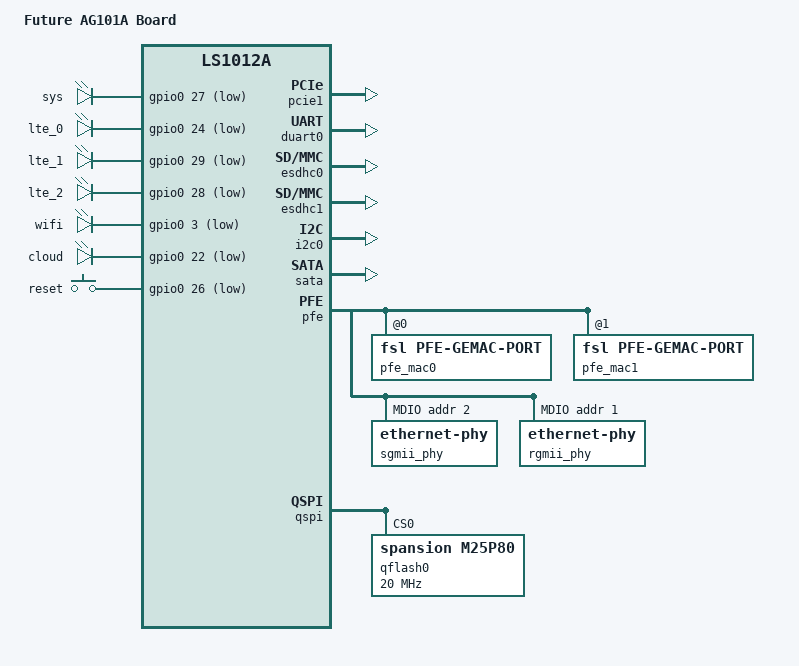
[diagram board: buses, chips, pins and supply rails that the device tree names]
// SPDX-License-Identifier: (GPL-2.0+ OR MIT)
/*
 * Device Tree file for Freescale LS1012A RDB Board.
 *
 * Copyright 2016 Freescale Semiconductor, Inc.
 *
 */
/dts-v1/;

#include <dt-bindings/interrupt-controller/irq.h>
#include "fsl-ls1012a.dtsi"

/ {
	model = "Future AG101A Board";
	compatible = "fsl,ls1012a-ag101a", "fsl,ls1012a";

	aliases {
		ethernet0 = &pfe_mac0;
		ethernet1 = &pfe_mac1;
	};
};

&leds {
	sys {
		label = "sys";
		gpios = <&gpio0 27 1>;
		linux,default-trigger = "timer";
	};

	lte_0 {
		label = "lte_0";
		gpios = <&gpio0 24 1>;
	};

	lte_1 {
		label = "lte_1";
		gpios = <&gpio0 29 1>;
	};

	lte_2 {
		label = "lte_2";
		gpios = <&gpio0 28 1>;
	};

	wifi {
		label = "wifi";
		gpios = <&gpio0 3 1>;
	};		
			
	cloud {
		label = "cloud";
		gpios = <&gpio0 22 1>;
	};	
};

&keys {
	reset {
		label = "reset";
		gpios = <&gpio0 26 1>;
		linux,code = <0x198>;
	};
};

&pcie1 {
	status = "okay";
};

&duart0 {
	status = "okay";
};

&esdhc0 {
	status = "okay";
};

&esdhc1 {
	mmc-hs200-1_8v;
	status = "okay";
};

&i2c0 {
	status = "okay";
};

&sata {
	status = "okay";
};

&pfe {
	status = "okay";
	#address-cells = <1>;
	#size-cells = <0>;

	pfe_mac0: ethernet@0 {
		compatible = "fsl,pfe-gemac-port";
		#address-cells = <1>;
		#size-cells = <0>;
		reg = <0x0>;	/* GEM_ID */
		fsl,mdio-mux-val = <0x0>;
		phy-mode = "sgmii";
		phy-handle = <&sgmii_phy>;
	};

	pfe_mac1: ethernet@1 {
		compatible = "fsl,pfe-gemac-port";
		#address-cells = <1>;
		#size-cells = <0>;
		reg = <0x1>;	/* GEM_ID */
		fsl,mdio-mux-val = <0x0>;
		phy-mode = "rgmii-id";
		phy-handle = <&rgmii_phy>;
	};
	mdio0: mdio@0 {
		#address-cells = <1>;
		#size-cells = <0>;

		sgmii_phy: ethernet-phy@2 {
			reg = <0x2>;
		};

		rgmii_phy: ethernet-phy@1 {
			reg = <0x1>;
		};
	};
};

&qspi {
	status = "okay";
	qflash0: s25fs512s@0 {
		compatible = "spansion,m25p80";
		#address-cells = <1>;
		#size-cells = <1>;
		spi-max-frequency = <20000000>;
		m25p,fast-read;
		reg = <0>;
		spi-rx-bus-width = <1>;
		spi-tx-bus-width = <1>;
	};
};
